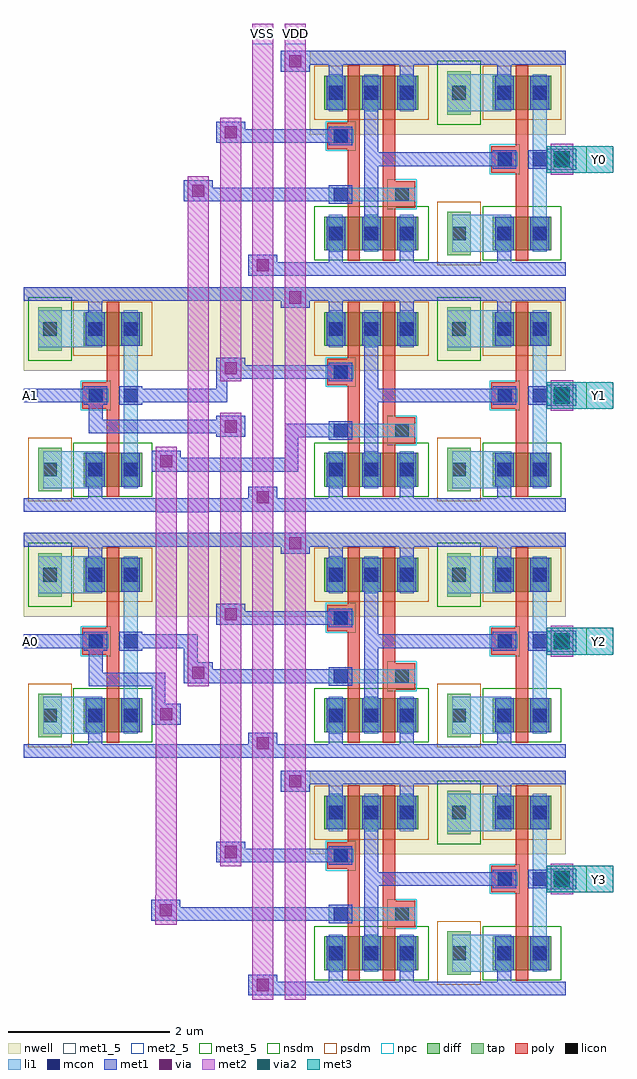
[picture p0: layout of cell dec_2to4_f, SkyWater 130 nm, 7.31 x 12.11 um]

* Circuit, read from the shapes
.subckt dec_2to4_f A0 A1 VDD VSS Y0 Y1 Y2 Y3
XM1 n1 A0 VSS VSS sky130_fd_pr__nfet_01v8 w=0.42 l=0.15
XM2 n2 A1 VSS VSS sky130_fd_pr__nfet_01v8 w=0.42 l=0.15
XM3 n3 A1 VSS VSS sky130_fd_pr__nfet_01v8 w=0.42 l=0.15
XM4 n4 A1 VSS VSS sky130_fd_pr__nfet_01v8 w=0.42 l=0.15
XM5 n5 n2 VSS VSS sky130_fd_pr__nfet_01v8 w=0.42 l=0.15
XM6 n6 n2 VSS VSS sky130_fd_pr__nfet_01v8 w=0.42 l=0.15
XM7 VSS A0 n3 VSS sky130_fd_pr__nfet_01v8 w=0.42 l=0.15
XM8 VSS n1 n4 VSS sky130_fd_pr__nfet_01v8 w=0.42 l=0.15
XM9 VSS A0 n5 VSS sky130_fd_pr__nfet_01v8 w=0.42 l=0.15
XM10 VSS n1 n6 VSS sky130_fd_pr__nfet_01v8 w=0.42 l=0.15
XM11 Y3 n3 VSS VSS sky130_fd_pr__nfet_01v8 w=0.42 l=0.15
XM12 Y2 n4 VSS VSS sky130_fd_pr__nfet_01v8 w=0.42 l=0.15
XM13 Y1 n5 VSS VSS sky130_fd_pr__nfet_01v8 w=0.42 l=0.15
XM14 Y0 n6 VSS VSS sky130_fd_pr__nfet_01v8 w=0.42 l=0.15
XM15 n1 A0 VDD VDD sky130_fd_pr__pfet_01v8 w=0.42 l=0.15
XM16 n2 A1 VDD VDD sky130_fd_pr__pfet_01v8 w=0.42 l=0.15
XM17 n3 A1 VDD VDD sky130_fd_pr__pfet_01v8 w=0.42 l=0.15
XM18 n4 A1 VDD VDD sky130_fd_pr__pfet_01v8 w=0.42 l=0.15
XM19 n5 n2 VDD VDD sky130_fd_pr__pfet_01v8 w=0.42 l=0.15
XM20 n6 n2 VDD VDD sky130_fd_pr__pfet_01v8 w=0.42 l=0.15
XM21 VDD A0 n3 VDD sky130_fd_pr__pfet_01v8 w=0.42 l=0.15
XM22 VDD n1 n4 VDD sky130_fd_pr__pfet_01v8 w=0.42 l=0.15
XM23 VDD A0 n5 VDD sky130_fd_pr__pfet_01v8 w=0.42 l=0.15
XM24 VDD n1 n6 VDD sky130_fd_pr__pfet_01v8 w=0.42 l=0.15
XM25 Y3 n3 VDD VDD sky130_fd_pr__pfet_01v8 w=0.42 l=0.15
XM26 Y2 n4 VDD VDD sky130_fd_pr__pfet_01v8 w=0.42 l=0.15
XM27 Y1 n5 VDD VDD sky130_fd_pr__pfet_01v8 w=0.42 l=0.15
XM28 Y0 n6 VDD VDD sky130_fd_pr__pfet_01v8 w=0.42 l=0.15
.ends

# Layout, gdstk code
import gdstk
lib = gdstk.Library(unit=1e-6, precision=5e-09)
def R(c, l, rs):  # rectangles x0, y0, x1, y1
    for r in rs: c.add(gdstk.rectangle(r[:2], r[2:], *l))
def A(c, l, x, y, w, h, nx, ny, dx, dy):  # array of equal rectangles
    R(c, l, [(x+i*dx, y+j*dy, x+i*dx+w, y+j*dy+h) for i in range(nx) for j in range(ny)])
nwell = (64, 20)
diff = (65, 20)
tap = (65, 44)
poly = (66, 20)
licon = (66, 44)
li1 = (67, 20)
mcon = (67, 44)
met1_5 = (68, 5)
met1 = (68, 20)
via = (68, 44)
met2_5 = (69, 5)
met2 = (69, 20)
via2 = (69, 44)
met3_5 = (70, 5)
met3 = (70, 20)
nsdm = (93, 44)
psdm = (94, 20)
npc = (95, 20)

dec_2to4_f = lib.new_cell('dec_2to4_f')
R(dec_2to4_f, nwell, [(3.545,1.8,6.725,2.84), (0,4.75,6.725,5.79), (0,7.8,6.725,8.84), (3.545,10.73,6.725,11.77)])
R(dec_2to4_f, diff, [(3.725,0.365,4.895,0.785), (5.815,0.365,6.545,0.785), (3.725,2.11,4.895,2.53), (5.815,2.11,6.545,2.53), (0.74,3.315,1.47,3.735), (3.725,3.315,4.895,3.735), (5.815,3.315,6.545,3.735), (0.74,5.06,1.47,5.48), (3.725,5.06,4.895,5.48), (5.815,5.06,6.545,5.48), (0.74,6.365,1.47,6.785), (3.725,6.365,4.895,6.785), (5.815,6.365,6.545,6.785), (0.74,8.11,1.47,8.53), (3.725,8.11,4.895,8.53), (5.815,8.11,6.545,8.53), (3.725,9.295,4.895,9.715), (5.815,9.295,6.545,9.715), (3.725,11.04,4.895,11.46), (5.815,11.04,6.545,11.46)])
R(dec_2to4_f, tap, [(5.255,0.305,5.545,0.845), (5.255,2.05,5.545,2.59), (0.18,3.255,0.47,3.795), (5.255,3.255,5.545,3.795), (0.18,5,0.47,5.54), (5.255,5,5.545,5.54), (0.18,6.305,0.47,6.845), (5.255,6.305,5.545,6.845), (0.18,8.05,0.47,8.59), (5.255,8.05,5.545,8.59), (5.255,9.235,5.545,9.775), (5.255,10.98,5.545,11.52)])
R(dec_2to4_f, poly, [(4.015,0.235,4.165,1.62), (4.455,0.235,4.605,0.895), (6.105,0.235,6.255,1.33), (4.455,0.895,4.855,1.225), (4.455,1.225,4.605,2.66), (5.8,1.33,6.255,1.66), (3.765,1.62,4.165,1.95), (6.105,1.66,6.255,2.66), (4.015,1.95,4.165,2.66), (1.03,3.185,1.18,4.28), (4.015,3.185,4.165,4.57), (4.455,3.185,4.605,3.845), (6.105,3.185,6.255,4.28), (4.455,3.845,4.855,4.175), (4.455,4.175,4.605,5.61), (0.725,4.28,1.18,4.61), (5.8,4.28,6.255,4.61), (3.765,4.57,4.165,4.9), (1.03,4.61,1.18,5.61), (6.105,4.61,6.255,5.61), (4.015,4.9,4.165,5.61), (1.03,6.235,1.18,7.33), (4.015,6.235,4.165,7.62), (4.455,6.235,4.605,6.895), (6.105,6.235,6.255,7.33), (4.455,6.895,4.855,7.225), (4.455,7.225,4.605,8.66), (0.725,7.33,1.18,7.66), (5.8,7.33,6.255,7.66), (3.765,7.62,4.165,7.95), (1.03,7.66,1.18,8.66), (6.105,7.66,6.255,8.66), (4.015,7.95,4.165,8.66), (4.015,9.165,4.165,10.55), (4.455,9.165,4.605,9.825), (6.105,9.165,6.255,10.26), (4.455,9.825,4.855,10.155), (4.455,10.155,4.605,11.59), (5.8,10.26,6.255,10.59), (3.765,10.55,4.165,10.88), (6.105,10.59,6.255,11.59), (4.015,10.88,4.165,11.59)])
A(dec_2to4_f, licon, 3.785, 0.49, 0.17, 0.17, 3, 2, 0.44, 1.745)
A(dec_2to4_f, licon, 3.785, 3.44, 0.17, 0.17, 3, 2, 0.44, 1.745)
A(dec_2to4_f, licon, 3.785, 6.49, 0.17, 0.17, 3, 2, 0.44, 1.745)
A(dec_2to4_f, licon, 3.785, 9.42, 0.17, 0.17, 3, 2, 0.44, 1.745)
R(dec_2to4_f, licon, [(5.315,0.49,5.485,0.66), (5.875,0.49,6.045,0.66), (6.315,0.49,6.485,0.66), (4.605,0.975,4.775,1.145), (5.88,1.41,6.05,1.58), (3.845,1.7,4.015,1.87), (5.315,2.235,5.485,2.405), (5.875,2.235,6.045,2.405), (6.315,2.235,6.485,2.405), (0.24,3.44,0.41,3.61), (0.8,3.44,0.97,3.61), (1.24,3.44,1.41,3.61), (5.315,3.44,5.485,3.61), (5.875,3.44,6.045,3.61), (6.315,3.44,6.485,3.61), (4.605,3.925,4.775,4.095), (0.805,4.36,0.975,4.53), (5.88,4.36,6.05,4.53), (3.845,4.65,4.015,4.82), (0.24,5.185,0.41,5.355), (0.8,5.185,0.97,5.355), (1.24,5.185,1.41,5.355), (5.315,5.185,5.485,5.355), (5.875,5.185,6.045,5.355), (6.315,5.185,6.485,5.355), (0.24,6.49,0.41,6.66), (0.8,6.49,0.97,6.66), (1.24,6.49,1.41,6.66), (5.315,6.49,5.485,6.66), (5.875,6.49,6.045,6.66), (6.315,6.49,6.485,6.66), (4.605,6.975,4.775,7.145), (0.805,7.41,0.975,7.58), (5.88,7.41,6.05,7.58), (3.845,7.7,4.015,7.87), (0.24,8.235,0.41,8.405), (0.8,8.235,0.97,8.405), (1.24,8.235,1.41,8.405), (5.315,8.235,5.485,8.405), (5.875,8.235,6.045,8.405), (6.315,8.235,6.485,8.405), (5.315,9.42,5.485,9.59), (5.875,9.42,6.045,9.59), (6.315,9.42,6.485,9.59), (4.605,9.905,4.775,10.075), (5.88,10.34,6.05,10.51), (3.845,10.63,4.015,10.8), (5.315,11.165,5.485,11.335), (5.875,11.165,6.045,11.335), (6.315,11.165,6.485,11.335)])
A(dec_2to4_f, li1, 3.785, 0.345, 0.17, 0.46, 3, 2, 0.44, 1.745)
A(dec_2to4_f, li1, 3.785, 3.295, 0.17, 0.46, 3, 2, 0.44, 1.745)
A(dec_2to4_f, li1, 3.785, 6.345, 0.17, 0.46, 3, 2, 0.44, 1.745)
A(dec_2to4_f, li1, 3.785, 9.275, 0.17, 0.46, 3, 2, 0.44, 1.745)
R(dec_2to4_f, li1, [(5.315,0.345,6.045,0.805), (6.315,0.345,6.485,2.55), (3.785,0.975,4.855,1.145), (5.8,1.41,6.13,1.58), (3.765,1.7,4.095,1.87), (5.255,2.09,6.045,2.55), (0.24,3.295,0.97,3.755), (1.24,3.295,1.41,5.5), (5.315,3.295,6.045,3.755), (6.315,3.295,6.485,5.5), (3.785,3.925,4.855,4.095), (0.725,4.36,1.055,4.53), (5.8,4.36,6.13,4.53), (3.765,4.65,4.095,4.82), (0.18,5.04,0.97,5.5), (5.255,5.04,6.045,5.5), (0.24,6.345,0.97,6.805), (1.24,6.345,1.41,8.55), (5.315,6.345,6.045,6.805), (6.315,6.345,6.485,8.55), (3.785,6.975,4.855,7.145), (0.725,7.41,1.055,7.58), (5.8,7.41,6.13,7.58), (3.765,7.7,4.095,7.87), (0.18,8.09,0.97,8.55), (5.255,8.09,6.045,8.55), (5.315,9.275,6.045,9.735), (6.315,9.275,6.485,11.48), (3.785,9.905,4.855,10.075), (5.8,10.34,6.13,10.51), (3.765,10.63,4.095,10.8), (5.255,11.02,6.045,11.48)])
A(dec_2to4_f, mcon, 3.785, 0.49, 0.17, 0.17, 3, 2, 0.44, 1.745)
A(dec_2to4_f, mcon, 3.785, 3.44, 0.17, 0.17, 3, 2, 0.44, 1.745)
A(dec_2to4_f, mcon, 3.785, 6.49, 0.17, 0.17, 3, 2, 0.44, 1.745)
A(dec_2to4_f, mcon, 3.785, 9.42, 0.17, 0.17, 3, 2, 0.44, 1.745)
R(dec_2to4_f, mcon, [(5.875,0.49,6.045,0.66), (6.315,0.49,6.485,0.66), (3.845,0.975,4.015,1.145), (5.88,1.41,6.05,1.58), (6.315,1.41,6.485,1.58), (3.845,1.7,4.015,1.87), (5.875,2.235,6.045,2.405), (6.315,2.235,6.485,2.405), (0.8,3.44,0.97,3.61), (1.24,3.44,1.41,3.61), (5.875,3.44,6.045,3.61), (6.315,3.44,6.485,3.61), (3.845,3.925,4.015,4.095), (0.805,4.36,0.975,4.53), (1.24,4.36,1.41,4.53), (5.88,4.36,6.05,4.53), (6.315,4.36,6.485,4.53), (3.845,4.65,4.015,4.82), (0.8,5.185,0.97,5.355), (1.24,5.185,1.41,5.355), (5.875,5.185,6.045,5.355), (6.315,5.185,6.485,5.355), (0.8,6.49,0.97,6.66), (1.24,6.49,1.41,6.66), (5.875,6.49,6.045,6.66), (6.315,6.49,6.485,6.66), (3.845,6.975,4.015,7.145), (0.805,7.41,0.975,7.58), (1.24,7.41,1.41,7.58), (5.88,7.41,6.05,7.58), (6.315,7.41,6.485,7.58), (3.845,7.7,4.015,7.87), (0.8,8.235,0.97,8.405), (1.24,8.235,1.41,8.405), (5.875,8.235,6.045,8.405), (6.315,8.235,6.485,8.405), (5.875,9.42,6.045,9.59), (6.315,9.42,6.485,9.59), (3.845,9.905,4.015,10.075), (5.88,10.34,6.05,10.51), (6.315,10.34,6.485,10.51), (3.845,10.63,4.015,10.8), (5.875,11.165,6.045,11.335), (6.315,11.165,6.485,11.335)])
R(dec_2to4_f, met1_5, [(0,4.36,0.17,4.53), (0,7.41,0.17,7.58)])
A(dec_2to4_f, met1, 3.755, 0.365, 0.23, 0.42, 3, 2, 0.44, 1.745)
A(dec_2to4_f, met1, 3.755, 3.315, 0.23, 0.42, 3, 2, 0.44, 1.745)
A(dec_2to4_f, met1, 3.755, 6.365, 0.23, 0.42, 3, 2, 0.44, 1.745)
A(dec_2to4_f, met1, 3.755, 9.295, 0.23, 0.42, 3, 2, 0.44, 1.745)
R(dec_2to4_f, met1, [(2.785,0.05,6.725,0.22), (2.785,0.22,3.145,0.31), (3.785,0.22,3.955,0.365), (4.665,0.22,4.835,0.365), (5.875,0.22,6.045,0.365), (5.845,0.365,6.075,0.785), (6.285,0.365,6.515,0.785), (4.225,0.785,4.395,1.41), (3.785,0.945,4.075,0.975), (1.58,0.975,4.075,1.145), (1.58,1.145,1.94,1.235), (3.785,1.145,4.075,1.175), (6.495,1.365,6.855,1.38), (5.82,1.38,6.11,1.41), (6.255,1.38,6.855,1.61), (4.225,1.41,6.11,1.58), (4.225,1.58,4.395,2.11), (5.82,1.58,6.11,1.61), (6.495,1.61,6.855,1.625), (3.785,1.67,4.075,1.7), (2.385,1.7,4.075,1.87), (2.385,1.87,2.745,1.96), (3.785,1.87,4.075,1.9), (5.845,2.11,6.075,2.53), (6.285,2.11,6.515,2.53), (3.785,2.53,3.955,2.67), (4.665,2.53,4.835,2.67), (5.875,2.53,6.045,2.67), (3.185,2.58,3.545,2.67), (3.185,2.67,6.725,2.84), (0,3,6.725,3.17), (0.8,3.17,0.97,3.315), (2.785,3.17,3.145,3.31), (3.785,3.17,3.955,3.315), (4.665,3.17,4.835,3.315), (5.875,3.17,6.045,3.315), (0.77,3.315,1,3.735), (1.21,3.315,1.44,3.735), (5.845,3.315,6.075,3.735), (6.285,3.315,6.515,3.735), (1.585,3.41,1.945,3.67), (1.585,3.67,1.755,3.885), (4.225,3.735,4.395,4.36), (0.805,3.885,1.755,4.055), (3.785,3.895,4.075,3.925), (1.985,3.925,4.075,4.095), (0.805,4.055,0.975,4.33), (1.985,4.095,2.345,4.185), (3.785,4.095,4.075,4.125), (1.985,4.185,2.155,4.36), (6.495,4.315,6.855,4.33), (0.745,4.33,1.035,4.36), (1.18,4.33,1.47,4.36), (5.82,4.33,6.11,4.36), (6.255,4.33,6.855,4.56), (0,4.36,1.035,4.53), (1.18,4.36,2.155,4.53), (4.225,4.36,6.11,4.53), (0.745,4.53,1.035,4.56), (1.18,4.53,1.47,4.56), (4.225,4.53,4.395,5.06), (5.82,4.53,6.11,4.56), (6.495,4.56,6.855,4.575), (3.785,4.62,4.075,4.65), (2.385,4.65,4.075,4.82), (2.385,4.82,2.745,4.91), (3.785,4.82,4.075,4.85), (0.77,5.06,1,5.48), (1.21,5.06,1.44,5.48), (5.845,5.06,6.075,5.48), (6.285,5.06,6.515,5.48), (0.8,5.48,0.97,5.62), (3.785,5.48,3.955,5.62), (4.665,5.48,4.835,5.62), (5.875,5.48,6.045,5.62), (3.185,5.53,3.545,5.62), (0,5.62,6.725,5.79), (1.635,6.045,2.275,6.05), (0,6.05,6.725,6.22), (0.8,6.22,0.97,6.365), (2.785,6.22,3.145,6.36), (3.785,6.22,3.955,6.365), (4.665,6.22,4.835,6.365), (5.875,6.22,6.045,6.365), (0.77,6.365,1,6.785), (1.21,6.365,1.44,6.785), (5.845,6.365,6.075,6.785), (6.285,6.365,6.515,6.785), (1.585,6.55,3.405,6.72), (1.585,6.72,1.945,6.81), (3.235,6.72,3.405,6.975), (4.225,6.785,4.395,7.41), (3.785,6.945,4.075,6.975), (3.235,6.975,4.075,7.145), (2.385,6.98,2.745,7.025), (0.805,7.025,2.745,7.195), (3.785,7.145,4.075,7.175), (0.805,7.195,0.975,7.38), (2.385,7.195,2.745,7.24), (6.495,7.365,6.855,7.38), (0.745,7.38,1.035,7.41), (1.18,7.38,1.47,7.41), (5.82,7.38,6.11,7.41), (6.255,7.38,6.855,7.61), (0,7.41,1.035,7.58), (1.18,7.41,2.525,7.58), (4.225,7.41,6.11,7.58), (0.745,7.58,1.035,7.61), (1.18,7.58,1.47,7.61), (2.385,7.58,2.525,7.7), (4.225,7.58,4.395,8.11), (5.82,7.58,6.11,7.61), (6.495,7.61,6.855,7.625), (3.785,7.67,4.075,7.7), (2.385,7.7,4.075,7.87), (2.385,7.87,2.745,7.96), (3.785,7.87,4.075,7.9), (0.77,8.11,1,8.53), (1.21,8.11,1.44,8.53), (5.845,8.11,6.075,8.53), (6.285,8.11,6.515,8.53), (0.8,8.53,0.97,8.67), (3.785,8.53,3.955,8.67), (4.665,8.53,4.835,8.67), (5.875,8.53,6.045,8.67), (3.185,8.58,3.545,8.67), (0,8.67,6.725,8.84), (2.785,8.98,6.725,9.15), (2.785,9.15,3.145,9.24), (3.785,9.15,3.955,9.295), (4.665,9.15,4.835,9.295), (5.875,9.15,6.045,9.295), (5.845,9.295,6.075,9.715), (6.285,9.295,6.515,9.715), (4.225,9.715,4.395,10.34), (3.785,9.875,4.075,9.905), (1.985,9.905,4.075,10.075), (1.985,10.075,2.345,10.165), (3.785,10.075,4.075,10.105), (6.495,10.295,6.855,10.31), (5.82,10.31,6.11,10.34), (6.255,10.31,6.855,10.54), (4.225,10.34,6.11,10.51), (4.225,10.51,4.395,11.04), (5.82,10.51,6.11,10.54), (6.495,10.54,6.855,10.555), (3.785,10.6,4.075,10.63), (2.385,10.63,4.075,10.8), (2.385,10.8,2.745,10.89), (3.785,10.8,4.075,10.83), (5.845,11.04,6.075,11.46), (6.285,11.04,6.515,11.46), (3.785,11.46,3.955,11.6), (4.665,11.46,4.835,11.6), (5.875,11.46,6.045,11.6), (3.185,11.51,3.545,11.6), (3.185,11.6,6.725,11.77)])
R(dec_2to4_f, via, [(2.89,0.105,3.04,0.255), (1.685,1.03,1.835,1.18), (6.6,1.42,6.75,1.57), (2.49,1.755,2.64,1.905), (3.29,2.635,3.44,2.785), (2.89,3.105,3.04,3.255), (1.69,3.465,1.84,3.615), (2.09,3.98,2.24,4.13), (6.6,4.37,6.75,4.52), (2.49,4.705,2.64,4.855), (3.29,5.585,3.44,5.735), (2.89,6.155,3.04,6.305), (1.69,6.605,1.84,6.755), (2.49,7.035,2.64,7.185), (6.6,7.42,6.75,7.57), (2.49,7.755,2.64,7.905), (3.29,8.635,3.44,8.785), (2.89,9.035,3.04,9.185), (2.09,9.96,2.24,10.11), (6.6,10.35,6.75,10.5), (2.49,10.685,2.64,10.835), (3.29,11.565,3.44,11.715)])
R(dec_2to4_f, met2_5, [(2.835,11.85,3.095,12.11), (3.235,11.85,3.495,12.11)])
R(dec_2to4_f, met2, [(2.835,0,3.095,12.11), (3.235,0,3.495,12.11), (1.63,0.925,1.895,1.285), (1.635,1.285,1.895,6.86), (6.535,1.305,6.815,1.685), (2.435,1.655,2.695,7.28), (2.035,3.885,2.295,10.215), (6.535,4.255,6.815,4.635), (6.535,7.305,6.815,7.685), (2.435,7.67,2.695,10.94), (6.535,10.235,6.815,10.615)])
R(dec_2to4_f, via2, [(6.575,1.395,6.775,1.595), (6.575,4.345,6.775,4.545), (6.575,7.395,6.775,7.595), (6.575,10.325,6.775,10.525)])
R(dec_2to4_f, met3_5, [(6.98,1.33,7.31,1.66), (6.98,4.28,7.31,4.61), (6.98,7.33,7.31,7.66), (6.98,10.26,7.31,10.59)])
R(dec_2to4_f, met3, [(6.485,1.33,7.31,1.66), (6.485,4.28,7.31,4.61), (6.485,7.33,7.31,7.66), (6.485,10.26,7.31,10.59)])
R(dec_2to4_f, nsdm, [(3.6,0.24,5.02,0.91), (5.69,0.24,6.67,0.91), (5.13,1.925,5.67,2.715), (0.615,3.19,1.595,3.86), (3.6,3.19,5.02,3.86), (5.69,3.19,6.67,3.86), (0.055,4.875,0.595,5.665), (5.13,4.875,5.67,5.665), (0.615,6.24,1.595,6.91), (3.6,6.24,5.02,6.91), (5.69,6.24,6.67,6.91), (0.055,7.925,0.595,8.715), (5.13,7.925,5.67,8.715), (3.6,9.17,5.02,9.84), (5.69,9.17,6.67,9.84), (5.13,10.855,5.67,11.645)])
R(dec_2to4_f, psdm, [(5.13,0.18,5.67,0.97), (3.6,1.985,5.02,2.655), (5.69,1.985,6.67,2.655), (0.055,3.13,0.595,3.92), (5.13,3.13,5.67,3.92), (0.615,4.935,1.595,5.605), (3.6,4.935,5.02,5.605), (5.69,4.935,6.67,5.605), (0.055,6.18,0.595,6.97), (5.13,6.18,5.67,6.97), (0.615,7.985,1.595,8.655), (3.6,7.985,5.02,8.655), (5.69,7.985,6.67,8.655), (5.13,9.11,5.67,9.9), (3.6,10.915,5.02,11.585), (5.69,10.915,6.67,11.585)])
R(dec_2to4_f, npc, [(4.505,0.875,4.875,1.245), (5.78,1.31,6.15,1.68), (3.745,1.6,4.115,1.97), (4.505,3.825,4.875,4.195), (0.705,4.26,1.075,4.63), (5.78,4.26,6.15,4.63), (3.745,4.55,4.115,4.92), (4.505,6.875,4.875,7.245), (0.705,7.31,1.075,7.68), (5.78,7.31,6.15,7.68), (3.745,7.6,4.115,7.97), (4.505,9.805,4.875,10.175), (5.78,10.24,6.15,10.61), (3.745,10.53,4.115,10.9)])
dec_2to4_f.add(gdstk.Label('Y0', (7.145,10.425), layer=70, texttype=5))
dec_2to4_f.add(gdstk.Label('Y1', (7.145,7.495), layer=70, texttype=5))
dec_2to4_f.add(gdstk.Label('Y2', (7.145,4.445), layer=70, texttype=5))
dec_2to4_f.add(gdstk.Label('Y3', (7.145,1.495), layer=70, texttype=5))
dec_2to4_f.add(gdstk.Label('VSS', (2.965,11.98), layer=69, texttype=5))
dec_2to4_f.add(gdstk.Label('VDD', (3.365,11.98), layer=69, texttype=5))
dec_2to4_f.add(gdstk.Label('A1', (0.085,7.495), layer=68, texttype=5))
dec_2to4_f.add(gdstk.Label('A0', (0.085,4.445), layer=68, texttype=5))

lib.write_gds('dec_2to4_f.gds')
